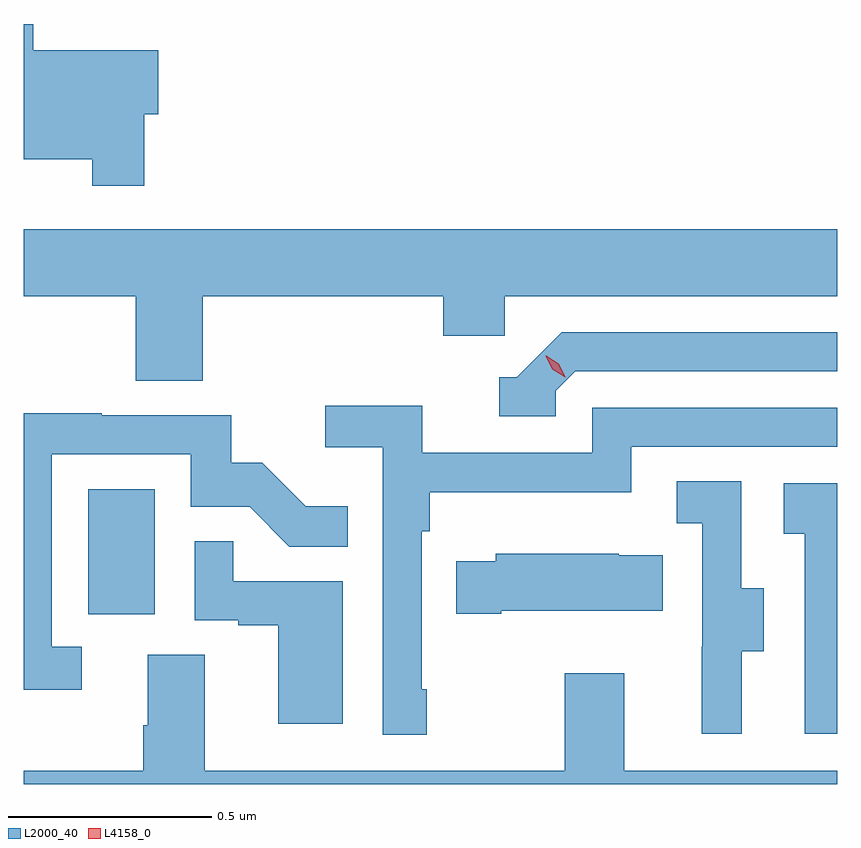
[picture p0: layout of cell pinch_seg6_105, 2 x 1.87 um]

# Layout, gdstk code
import gdstk
lib = gdstk.Library(unit=1e-6, precision=1e-09)
def R(c, l, rs):  # rectangles x0, y0, x1, y1
    for r in rs: c.add(gdstk.rectangle(r[:2], r[2:], *l))
def P(c, l, *ps):  # polygons
    for p in ps: c.add(gdstk.Polygon(p, *l))
L2000_40 = (2000, 40)
L4158_0 = (4158, 0)

pinch_seg6_105 = lib.new_cell('pinch_seg6_105')
R(pinch_seg6_105, L2000_40, [(898.586,915.918,898.75,916.225)])
P(pinch_seg6_105, L2000_40, [(898.724,917.147),(898.759,917.147),(898.759,917.305),(898.451,917.305),(898.451,917.369),(898.428,917.369),(898.428,917.036),(898.596,917.036),(898.596,916.971),(898.724,916.971)],
  [(898.868,916.7),(899.459,916.7),(899.459,916.602),(899.61,916.602),(899.61,916.7),(900.428,916.7),(900.428,916.864),(898.428,916.864),(898.428,916.7),(898.703,916.7),(898.703,916.492),(898.868,916.492)],
  [(899.736,916.467),(899.784,916.515),(900.428,916.515),(900.428,916.611),(899.751,916.611),(899.64,916.5),(899.597,916.5),(899.597,916.404),(899.736,916.404)],
  [(899.419,915.733),(899.406,915.733),(899.406,916.121),(899.426,916.121),(899.426,916.217),(899.922,916.217),(899.922,916.329),(900.428,916.329),(900.428,916.425),(899.826,916.425),(899.826,916.314),(899.408,916.314),(899.408,916.43),(899.169,916.43),(899.169,916.328),(899.31,916.328),(899.31,915.621),(899.419,915.621)],
  [(898.57,915.837),(898.497,915.837),(898.497,916.311),(898.839,916.311),(898.839,916.182),(898.983,916.182),(899.081,916.084),(899.225,916.084),(899.225,916.183),(899.121,916.183),(899.014,916.29),(898.938,916.29),(898.938,916.407),(898.619,916.407),(898.619,916.412),(898.428,916.412),(898.428,915.732),(898.57,915.732)],
  [(900.193,915.826),(900.247,915.826),(900.247,915.981),(900.192,915.981),(900.192,916.244),(900.033,916.244),(900.033,916.141),(900.096,916.141),(900.096,915.837),(900.095,915.837),(900.095,915.624),(900.193,915.624)],
  [(900.428,916.239),(900.297,916.239),(900.297,916.115),(900.348,916.115),(900.348,915.624),(900.428,915.624)],
  [(899.212,915.999),(898.943,915.999),(898.943,916.097),(898.848,916.097),(898.848,915.903),(898.955,915.903),(898.955,915.891),(899.054,915.891),(899.054,915.648),(899.212,915.648)],
  [(899.602,915.926),(899.999,915.926),(899.999,916.063),(899.891,916.063),(899.891,916.066),(899.589,916.066),(899.589,916.048),(899.491,916.048),(899.491,915.919),(899.602,915.919)],
  [(900.428,915.532),(899.905,915.532),(899.905,915.772),(899.758,915.772),(899.758,915.532),(898.873,915.532),(898.873,915.818),(898.733,915.818),(898.733,915.644),(898.721,915.644),(898.721,915.532),(898.428,915.532),(898.428,915.5),(900.428,915.5)])
P(pinch_seg6_105, L4158_0, [(899.759,916.5),(899.728,916.52),(899.712,916.552),(899.712,916.553),(899.713,916.553),(899.743,916.533),(899.759,916.5),(899.759,916.5)])

lib.write_gds('pinch_seg6_105.gds')
